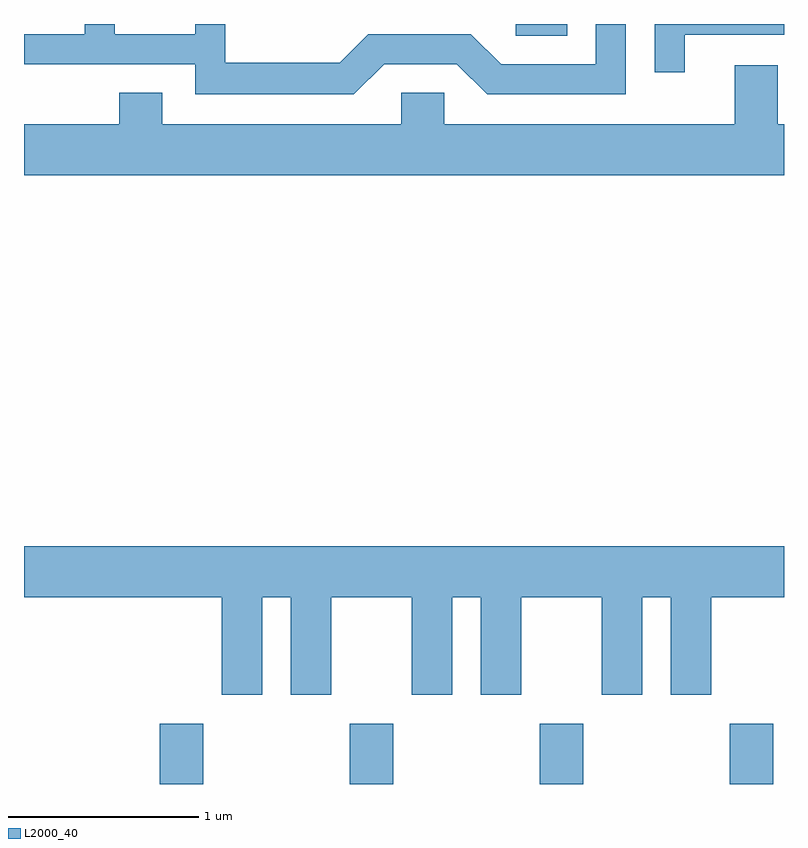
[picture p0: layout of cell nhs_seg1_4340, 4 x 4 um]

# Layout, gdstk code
import gdstk
lib = gdstk.Library(unit=1e-6, precision=1e-09)
def R(c, l, rs):  # rectangles x0, y0, x1, y1
    for r in rs: c.add(gdstk.rectangle(r[:2], r[2:], *l))
def A(c, l, x, y, w, h, nx, ny, dx, dy):  # array of equal rectangles
    R(c, l, [(x+i*dx, y+j*dy, x+i*dx+w, y+j*dy+h) for i in range(nx) for j in range(ny)])
def P(c, l, *ps):  # polygons
    for p in ps: c.add(gdstk.Polygon(p, *l))
L2000_40 = (2000, 40)

nhs_seg1_4340 = lib.new_cell('nhs_seg1_4340')
A(nhs_seg1_4340, L2000_40, 316.326, 889.712, 0.228, 0.317, 4, 1, 1, 0)
R(nhs_seg1_4340, L2000_40, [(318.198,893.651,318.469,893.712)])
P(nhs_seg1_4340, L2000_40, [(317.507,893.501),(317.889,893.501),(318.049,893.341),(318.779,893.341),(318.779,893.712),(318.621,893.712),(318.621,893.499),(318.122,893.499),(317.962,893.659),(317.424,893.659),(317.274,893.509),(316.669,893.509),(316.669,893.712),(316.511,893.712),(316.511,893.659),(316.089,893.659),(316.089,893.712),(315.931,893.712),(315.931,893.659),(315.611,893.659),(315.611,893.501),(316.511,893.501),(316.511,893.341),(317.347,893.341)],
  [(319.089,893.656),(319.611,893.656),(319.611,893.712),(318.931,893.712),(318.931,893.458),(319.089,893.458)],
  [(319.611,893.184),(319.579,893.184),(319.579,893.494),(319.351,893.494),(319.351,893.184),(317.824,893.184),(317.824,893.349),(317.596,893.349),(317.596,893.184),(316.339,893.184),(316.339,893.349),(316.111,893.349),(316.111,893.184),(315.611,893.184),(315.611,892.916),(319.611,892.916)],
  [(316.864,890.696),(317.016,890.696),(317.016,890.181),(317.229,890.181),(317.229,890.696),(317.651,890.696),(317.651,890.181),(317.864,890.181),(317.864,890.696),(318.016,890.696),(318.016,890.181),(318.229,890.181),(318.229,890.696),(318.651,890.696),(318.651,890.181),(318.864,890.181),(318.864,890.696),(319.016,890.696),(319.016,890.181),(319.229,890.181),(319.229,890.696),(319.611,890.696),(319.611,890.964),(315.611,890.964),(315.611,890.696),(316.651,890.696),(316.651,890.181),(316.864,890.181)])

lib.write_gds('nhs_seg1_4340.gds')
